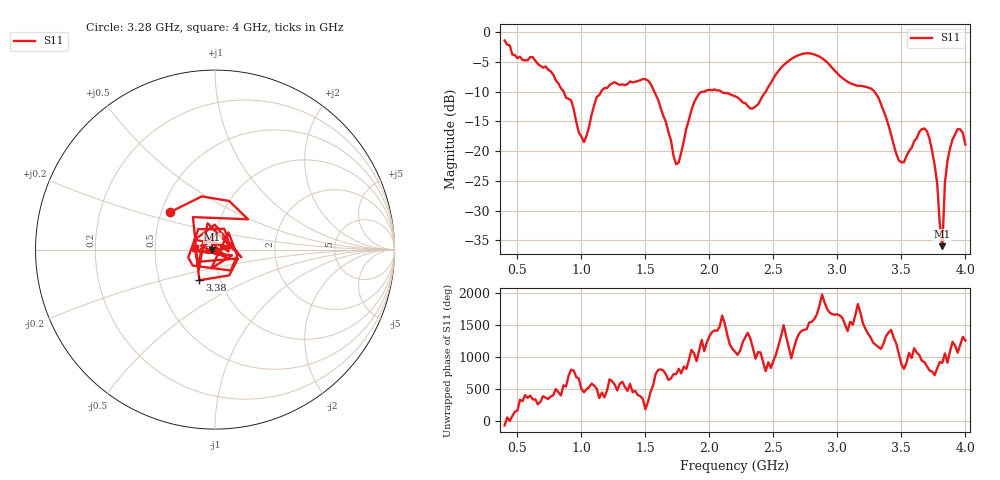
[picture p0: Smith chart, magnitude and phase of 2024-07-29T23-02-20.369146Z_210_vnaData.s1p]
!Created with skrf (http://scikit-rf.org).
# Hz S RI R 50.0
!freq ReS11 ImS11
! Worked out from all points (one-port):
!   181 points, 400 MHz to 4 GHz, reference 50 ohm
!   lowest |S11| = -36.0 dB at 3.82 GHz (marker M1), VSWR 1.03, Z = 48.4 - j0.108 ohm
!   |S11| at or under -10 dB: 1.57 GHz to 1.961 GHz (390.8 MHz wide, 22.1 % of centre); 2.093 GHz to 2.44 GHz (347.4 MHz wide, 15.3 % of centre); 3.289 GHz to end of sweep (the widest 3 of 4)
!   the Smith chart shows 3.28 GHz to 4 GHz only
!   S11 on the Smith chart (normalised r, x): 3.28 GHz: 0.56, +0.26; 3.38 GHz: 0.79, -0.28; 4 GHz: 0.80, +0.02
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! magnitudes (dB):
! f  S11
! 400 MHz  -1.4
! 500 MHz  -4.4
! 720 MHz  -5.8
! 860 MHz  -9.9
! 920 MHz  -11.5
! 1.02 GHz  -18.5
! 1.12 GHz  -10.8
! 1.3 GHz  -8.8
! 1.54 GHz  -8.6
! 1.76 GHz  -21.9
! 1.86 GHz  -13.1
! 1.92 GHz  -10.3
! 2.2 GHz  -10.8
! 2.34 GHz  -12.8
! 2.66 GHz  -4.2
! 2.86 GHz  -4.1
! 3.1 GHz  -8.6
! 3.28 GHz  -9.7
! 3.38 GHz  -14.3
! 3.48 GHz  -21.6
! 3.56 GHz  -20.0
! 3.7 GHz  -16.7
! 3.78 GHz  -25.5
! 3.82 GHz  -36.0
! 3.84 GHz  -25.3
! 3.88 GHz  -19.5
! 3.94 GHz  -16.3
! 4 GHz  -18.9
